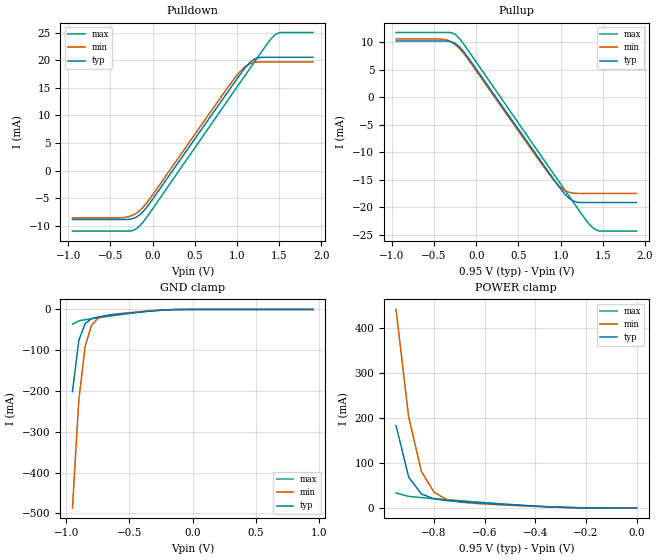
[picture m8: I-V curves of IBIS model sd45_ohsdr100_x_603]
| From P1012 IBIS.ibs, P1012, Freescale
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[Model]   sd45_ohsdr100_x_603
Model_type 3-state
Enable Active-High
Polarity Non-Inverting
|   TYP   MIN   MAX
C_comp   1.60pF   1.60pF   1.67pF
[Model Spec]
Vmeas   0.475   0.425   0.605
[Voltage Range]   0.95   0.85   1.21
[Temperature Range] 65   125   -40
[Driver Schedule]
| Model_Name  Rise_on_dly   Rise_off_dly   Fall_on_dly   Fall_off_dly
sd45_ohsdr100_x_60   0ps   NA   0ps   NA
sd45_ohsdr100_x_63  333.33ps   NA  333.33ps   NA
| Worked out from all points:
|   slope of the pulldown table from 0 to 0.142 V, typ, clamps not added: 45.7 ohm
|   slope of the pullup table from 0 to 0.142 V, typ, clamps not added: 45.5 ohm
|   GND clamp passes 1 mA (typ) near -0.19 V on its own axis
|   POWER clamp passes 1 mA (typ) near -0.25 V on its own axis
[Pullup]
|   Vout(V)   TYP   WCS   BCS
-950mV    10.25mA    10.63mA    11.8mA
-400mV    10.25mA    10.58mA    11.8mA
-250mV    9.815mA    9.637mA    11.46mA
-100mV    7.328mA    7.022mA    8.649mA
800mV     -12.33mA   -12.61mA   -11.31mA
1V        -16.63mA   -16.39mA   -15.73mA
1.1V      -18.35mA   -17.27mA   -17.94mA
1.15V     -18.84mA   -17.43mA   -19.04mA
1.3V      -19.13mA   -17.47mA   -22.31mA
1.4V      -19.13mA   -17.47mA   -23.93mA
1.5V      -19.13mA   -17.47mA   -24.33mA
1.9V      -19.13mA   -17.47mA   -24.33mA
[Pulldown]
|   Vout(V)   TYP   WCS   BCS
-950mV    -8.881mA   -8.579mA   -11mA
-350mV    -8.881mA   -8.549mA   -11mA
-250mV    -8.795mA   -8.206mA   -10.95mA
-150mV    -8.006mA   -7.229mA   -10.02mA
0V        -5.189mA   -4.405mA   -6.939mA
950mV     15.58mA    16.36mA    14.07mA
1.1V      18.73mA    18.9mA     17.38mA
1.2V      20.18mA    19.62mA    19.58mA
1.25V     20.49mA    19.73mA    20.68mA
1.45V     20.58mA    19.73mA    24.65mA
1.5V      20.58mA    19.73mA    25.06mA
1.9V      20.58mA    19.73mA    25.07mA
[GND Clamp]
|   Vout(V)   TYP   WCS   BCS
-950mV    -201.6mA   -486.5mA   -36.16mA
-900mV    -75.75mA   -222.9mA   -28.05mA
-850mV    -34.66mA   -90.59mA   -25.11mA
-800mV    -22.71mA   -39.37mA   -22.78mA
-750mV    -18.57mA   -21.91mA   -20.52mA
-700mV    -16.25mA   -15.71mA   -18.29mA
-650mV    -14.32mA   -12.88mA   -16.07mA
-400mV    -5.858mA   -5.175mA   -5.911mA
-200mV    -1.108mA   -1.072mA   -756.7uA
950mV     70.01uA    122.9uA    16.34uA
[POWER Clamp]
|   Vout(V)   TYP   WCS   BCS
-950mV    183.5mA    442.2mA    33.41mA
-900mV    68.86mA    202.2mA    25.88mA
-850mV    31.34mA    81.75mA    23.04mA
-800mV    20.35mA    35.06mA    20.76mA
-750mV    16.45mA    19.08mA    18.55mA
-700mV    14.21mA    13.35mA    16.36mA
-650mV    12.35mA    10.71mA    14.18mA
-300mV    1.805mA    1.559mA    1.409mA
0V        0A         0A         0A
[Ramp]
R_load=50.00
dV/dt_r  1.4958e-01/6.4236e-11  1.3455e-01/6.5371e-11  1.9119e-01/6.5914e-11
dV/dt_f  1.4958e-01/6.5678e-11  1.3454e-01/6.7506e-11  1.9120e-01/6.6813e-11
